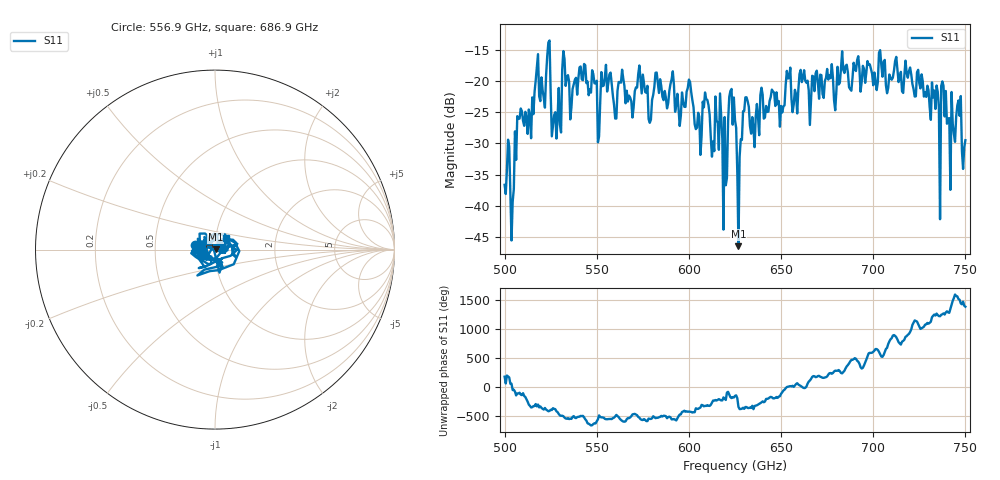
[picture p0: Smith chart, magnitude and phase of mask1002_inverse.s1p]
!Created with skrf (http://scikit-rf.org).
# GHz S MA R 50.0
!freq magS11 angS11
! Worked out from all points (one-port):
!   401 points, 500 GHz to 750 GHz, reference 50 ohm
!   lowest |S11| = -46.5 dB at 626.9 GHz (marker M1), VSWR 1.01, Z = 50.5 + j0.121 ohm
!   |S11| at or under -10 dB: start of sweep to end of sweep
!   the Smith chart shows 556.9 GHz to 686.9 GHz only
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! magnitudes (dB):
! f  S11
! 500 GHz  -36.7
! 504.4 GHz  -39.3
! 508.1 GHz  -26.0
! 513.1 GHz  -24.5
! 517.5 GHz  -17.7
! 523.8 GHz  -13.7
! 526.9 GHz  -25.4
! 531.2 GHz  -18.1
! 562.5 GHz  -20.1
! 593.8 GHz  -22.0
! 605.6 GHz  -25.7
! 609.4 GHz  -22.9
! 612.5 GHz  -32.1
! 616.9 GHz  -22.0
! 619.4 GHz  -25.8
! 623.1 GHz  -21.2
! 625 GHz  -26.3
! 626.9 GHz  -46.5
! 630.6 GHz  -22.6
! 634.4 GHz  -25.8
! 656.2 GHz  -25.0
! 687.5 GHz  -21.3
! 718.8 GHz  -19.4
! 735 GHz  -21.7
! 738.1 GHz  -20.8
! 743.1 GHz  -26.8
! 746.2 GHz  -23.1
! 750 GHz  -29.5
